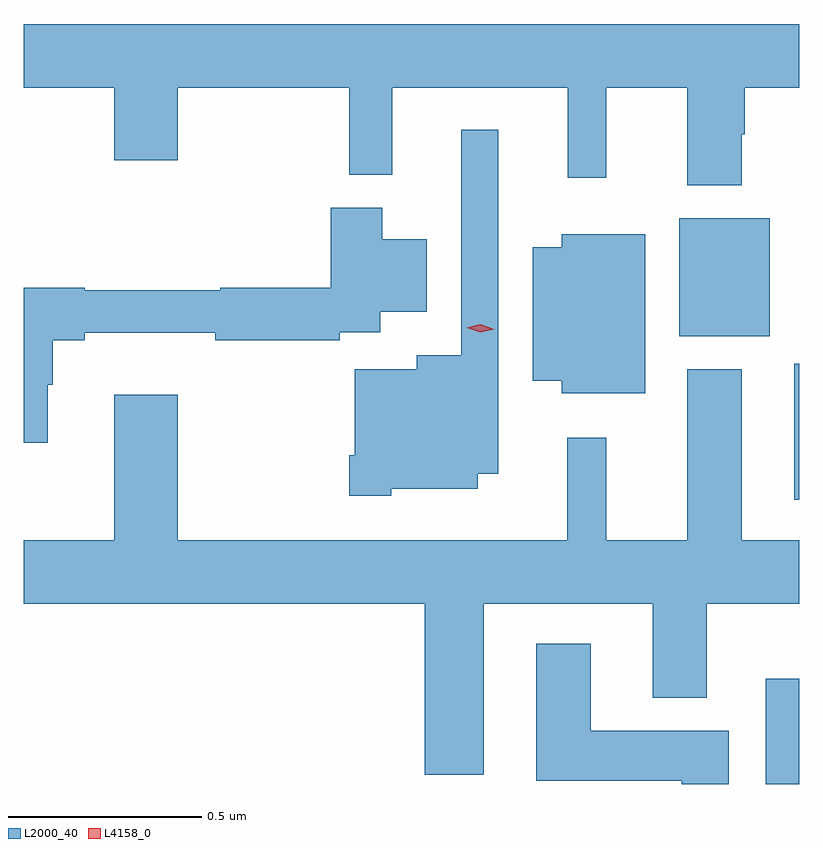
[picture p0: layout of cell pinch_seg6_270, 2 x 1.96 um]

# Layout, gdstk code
import gdstk
lib = gdstk.Library(unit=1e-6, precision=1e-09)
def R(c, l, rs):  # rectangles x0, y0, x1, y1
    for r in rs: c.add(gdstk.rectangle(r[:2], r[2:], *l))
def P(c, l, *ps):  # polygons
    for p in ps: c.add(gdstk.Polygon(p, *l))
L2000_40 = (2000, 40)
L4158_0 = (4158, 0)

pinch_seg6_270 = lib.new_cell('pinch_seg6_270')
R(pinch_seg6_270, L2000_40, [(885.969,990.827,886.055,991.099), (886.043,991.56,886.055,991.912), (885.746,991.982,885.979,992.287)])
P(pinch_seg6_270, L2000_40, [(885.907,992.504),(885.915,992.504),(885.915,992.624),(886.055,992.624),(886.055,992.788),(884.055,992.788),(884.055,992.624),(884.288,992.624),(884.288,992.436),(884.452,992.436),(884.452,992.624),(884.895,992.624),(884.895,992.399),(885.005,992.399),(885.005,992.624),(885.458,992.624),(885.458,992.391),(885.557,992.391),(885.557,992.624),(885.767,992.624),(885.767,992.372),(885.907,992.372)],
  [(885.003,991.589),(885.226,991.589),(885.226,991.628),(885.279,991.628),(885.279,992.515),(885.183,992.515),(885.183,991.933),(885.068,991.933),(885.068,991.897),(884.909,991.897),(884.909,991.675),(884.895,991.675),(884.895,991.571),(885.003,991.571)],
  [(884.116,991.857),(884.129,991.857),(884.129,991.972),(884.212,991.972),(884.212,991.991),(884.548,991.991),(884.548,991.972),(884.87,991.972),(884.87,991.992),(884.974,991.992),(884.974,992.045),(885.094,992.045),(885.094,992.233),(884.98,992.233),(884.98,992.314),(884.846,992.314),(884.846,992.108),(884.562,992.108),(884.562,992.101),(884.212,992.101),(884.212,992.108),(884.055,992.108),(884.055,991.707),(884.116,991.707)],
  [(885.658,992.245),(885.443,992.245),(885.443,992.212),(885.368,992.212),(885.368,991.868),(885.443,991.868),(885.443,991.835),(885.658,991.835)],
  [(885.241,991.292),(885.677,991.292),(885.677,991.049),(885.817,991.049),(885.817,991.292),(886.055,991.292),(886.055,991.456),(885.907,991.456),(885.907,991.897),(885.767,991.897),(885.767,991.456),(885.557,991.456),(885.557,991.72),(885.457,991.72),(885.457,991.456),(884.452,991.456),(884.452,991.831),(884.288,991.831),(884.288,991.456),(884.055,991.456),(884.055,991.292),(885.089,991.292),(885.089,990.851),(885.241,990.851)],
  [(885.874,990.964),(885.517,990.964),(885.517,991.189),(885.377,991.189),(885.377,990.836),(885.752,990.836),(885.752,990.827),(885.874,990.827)])
P(pinch_seg6_270, L4158_0, [(885.232,991.993),(885.197,992.004),(885.196,992.004),(885.197,992.004),(885.233,992.013),(885.268,992.001),(885.269,992.001),(885.268,992.001)])

lib.write_gds('pinch_seg6_270.gds')
